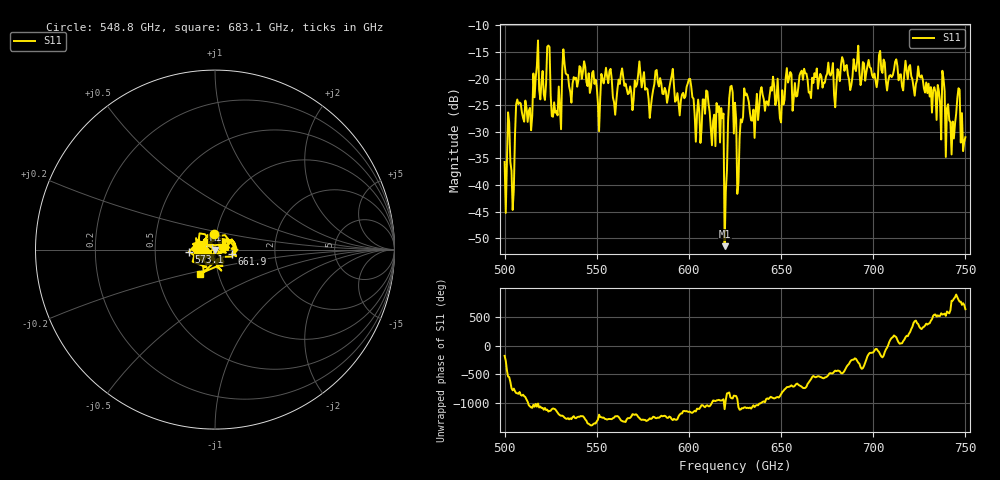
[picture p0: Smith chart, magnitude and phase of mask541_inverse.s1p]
!Created with skrf (http://scikit-rf.org).
# GHz S MA R 50.0
!freq magS11 angS11
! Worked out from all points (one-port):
!   401 points, 500 GHz to 750 GHz, reference 50 ohm
!   lowest |S11| = -51.5 dB at 619.4 GHz (marker M1), VSWR 1.01, Z = 50.2 - j0.0981 ohm
!   |S11| at or under -10 dB: start of sweep to end of sweep
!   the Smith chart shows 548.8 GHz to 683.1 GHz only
!   S11 on the Smith chart (normalised r, x): 548.8 GHz: 0.98, +0.18; 573.1 GHz: 0.75, -0.02; 661.9 GHz: 1.21, -0.05; 683.1 GHz: 0.82, -0.23
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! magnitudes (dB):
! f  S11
! 500 GHz  -35.7
! 502.5 GHz  -28.3
! 504.4 GHz  -44.7
! 507.5 GHz  -24.8
! 513.8 GHz  -25.5
! 516.9 GHz  -19.8
! 523.8 GHz  -13.8
! 526.9 GHz  -24.5
! 531.2 GHz  -18.5
! 548.8 GHz  -21.0
! 562.5 GHz  -21.0
! 573.1 GHz  -16.8
! 593.8 GHz  -22.7
! 616.2 GHz  -25.2
! 619.4 GHz  -51.5
! 622.5 GHz  -21.5
! 625 GHz  -24.5
! 627.5 GHz  -31.1
! 631.2 GHz  -22.8
! 634.4 GHz  -27.9
! 656.2 GHz  -26.0
! 661.9 GHz  -20.2
! 683.1 GHz  -16.0
! 687.5 GHz  -22.2
! 718.8 GHz  -20.1
! 742.5 GHz  -34.3
! 745.6 GHz  -23.7
! 750 GHz  -31.0
